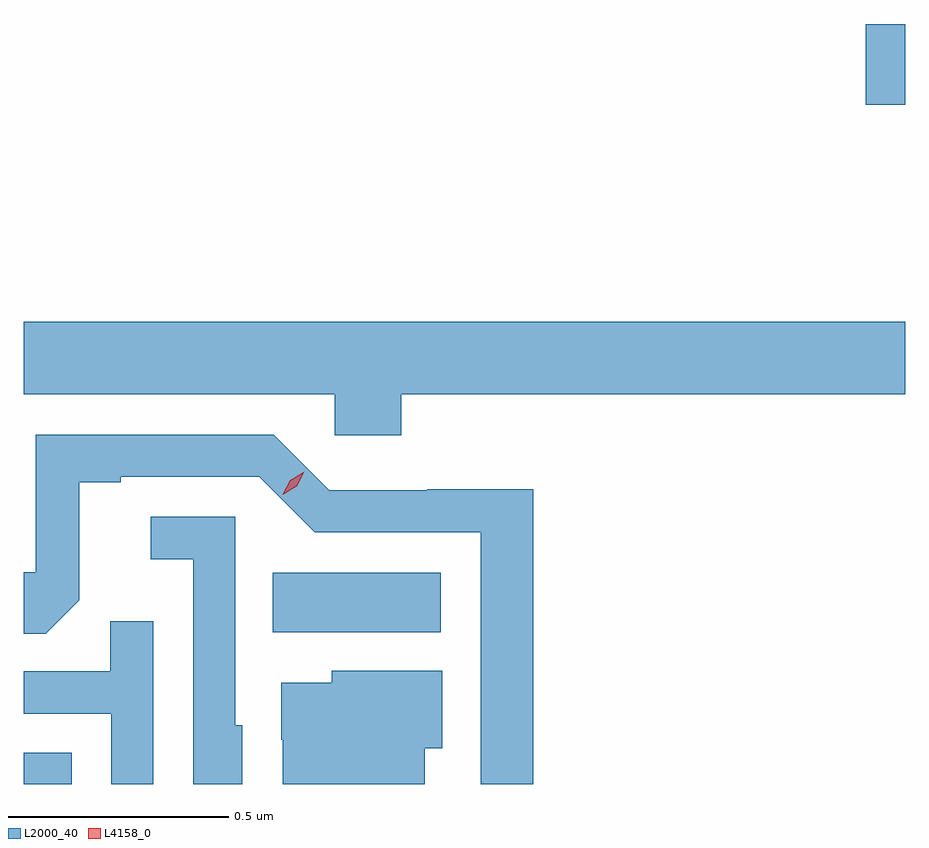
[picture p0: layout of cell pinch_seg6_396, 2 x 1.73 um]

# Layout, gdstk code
import gdstk
lib = gdstk.Library(unit=1e-6, precision=1e-09)
def R(c, l, rs):  # rectangles x0, y0, x1, y1
    for r in rs: c.add(gdstk.rectangle(r[:2], r[2:], *l))
def P(c, l, *ps):  # polygons
    for p in ps: c.add(gdstk.Polygon(p, *l))
L2000_40 = (2000, 40)
L4158_0 = (4158, 0)

pinch_seg6_396 = lib.new_cell('pinch_seg6_396')
R(pinch_seg6_396, L2000_40, [(673.377,925.139,673.486,925.21), (673.942,925.484,674.323,925.618), (675.288,926.681,675.377,926.864)])
P(pinch_seg6_396, L2000_40, [(674.234,926.024),(675.377,926.024),(675.377,926.188),(673.377,926.188),(673.377,926.024),(674.082,926.024),(674.082,925.931),(674.234,925.931)],
  [(674.533,925.808),(674.292,925.808),(674.292,925.806),(674.07,925.806),(673.944,925.932),(673.404,925.932),(673.404,925.62),(673.377,925.62),(673.377,925.48),(673.427,925.48),(673.503,925.556),(673.503,925.824),(673.597,925.824),(673.597,925.836),(673.911,925.836),(674.037,925.71),(674.414,925.71),(674.414,925.139),(674.533,925.139)],
  [(673.872,925.272),(673.857,925.272),(673.857,925.746),(673.665,925.746),(673.665,925.649),(673.761,925.649),(673.761,925.139),(673.872,925.139)],
  [(673.671,925.508),(673.573,925.508),(673.573,925.395),(673.377,925.395),(673.377,925.299),(673.575,925.299),(673.575,925.139),(673.671,925.139)],
  [(674.287,925.22),(674.326,925.22),(674.326,925.396),(674.076,925.396),(674.076,925.369),(673.961,925.369),(673.961,925.24),(673.965,925.24),(673.965,925.139),(674.287,925.139)])
P(pinch_seg6_396, L4158_0, [(673.964,925.796),(673.964,925.797),(673.981,925.829),(674.013,925.848),(674.013,925.848),(674.013,925.848),(673.996,925.815),(673.964,925.796)])

lib.write_gds('pinch_seg6_396.gds')
